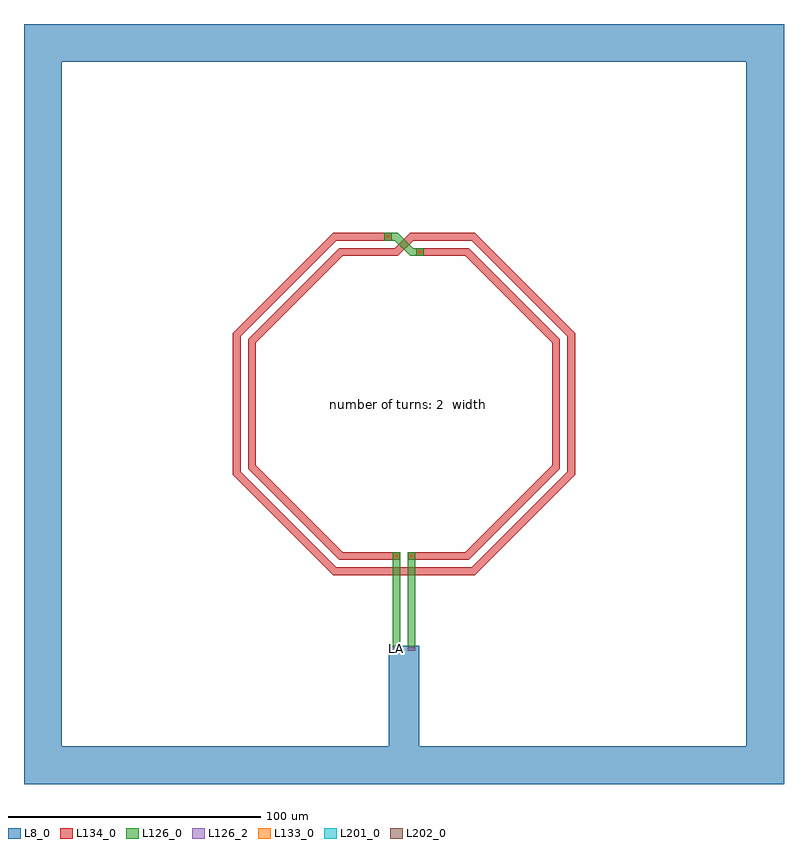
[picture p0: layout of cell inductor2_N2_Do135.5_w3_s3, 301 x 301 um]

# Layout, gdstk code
import gdstk
lib = gdstk.Library(unit=1e-6, precision=1e-09)
def R(c, l, rs):  # rectangles x0, y0, x1, y1
    for r in rs: c.add(gdstk.rectangle(r[:2], r[2:], *l))
def P(c, l, *ps):  # polygons
    for p in ps: c.add(gdstk.Polygon(p, *l))
L8_0 = (8, 0)
L126_0 = (126, 0)
L126_2 = (126, 2)
L133_0 = (133, 0)
L134_0 = (134, 0)
L201_0 = (201, 0)
L202_0 = (202, 0)

inductor2_n2_do135_5_w3_ = lib.new_cell('inductor2_N2_Do135.5_w3_s3')
R(inductor2_n2_do135_5_w3_, L8_0, [(-150.5,-150.5,-135.5,150.5), (-135.5,-150.5,135.5,-135.5), (135.5,-150.5,150.5,150.5), (-6,-135.5,6,-95.75), (-135.5,135.5,135.5,150.5)])
R(inductor2_n2_do135_5_w3_, L126_0, [(-4.5,-97.75,-1.5,-58.75), (1.5,-97.75,4.5,-58.75)])
P(inductor2_n2_do135_5_w3_, L126_0, [(-7.86,67.75),(-7.86,64.75),(-3.621,64.75),(2.379,58.75),(7.86,58.75),(7.86,61.75),(3.621,61.75),(-2.379,67.75)])
R(inductor2_n2_do135_5_w3_, L126_2, [(-4.5,-97.75,-1.5,-96.25), (1.5,-97.75,4.5,-96.25)])
R(inductor2_n2_do135_5_w3_, L133_0, [(-3.45,-60.7,-2.55,-59.8), (2.55,-60.7,3.45,-59.8), (5.92,59.8,6.82,60.7), (-6.82,65.8,-5.92,66.7)])
R(inductor2_n2_do135_5_w3_, L134_0, [(-7.865,-67.75,7.865,-64.75)])
P(inductor2_n2_do135_5_w3_, L134_0, [(-4.86,-67.75),(-4.86,-64.75),(-26.819,-64.75),(-64.75,-26.819),(-64.75,3),(-67.75,3),(-67.75,-28.061),(-28.061,-67.75)],
  [(-4.86,64.75),(-4.86,67.75),(-28.061,67.75),(-67.75,28.061),(-67.75,-3),(-64.75,-3),(-64.75,26.819),(-26.819,64.75)],
  [(4.86,-64.75),(4.86,-67.75),(28.061,-67.75),(67.75,-28.061),(67.75,3),(64.75,3),(64.75,-26.819),(26.819,-64.75)],
  [(4.86,67.75),(4.86,64.75),(26.819,64.75),(64.75,26.819),(64.75,-3),(67.75,-3),(67.75,28.061),(28.061,67.75)],
  [(-1.5,-61.75),(-1.5,-58.75),(-24.339,-58.75),(-58.75,-24.339),(-58.75,3),(-61.75,3),(-61.75,-25.581),(-25.581,-61.75)],
  [(-4.86,58.75),(-4.86,61.75),(-25.581,61.75),(-61.75,25.581),(-61.75,-3),(-58.75,-3),(-58.75,24.339),(-24.339,58.75)],
  [(1.5,-58.75),(1.5,-61.75),(25.581,-61.75),(61.75,-25.581),(61.75,3),(58.75,3),(58.75,-24.339),(24.339,-58.75)],
  [(4.86,61.75),(4.86,58.75),(24.339,58.75),(58.75,24.339),(58.75,-3),(61.75,-3),(61.75,25.581),(25.581,61.75)],
  [(-7.86,61.75),(-7.86,58.75),(-2.379,58.75),(3.621,64.75),(7.86,64.75),(7.86,67.75),(2.379,67.75),(-3.621,61.75)])
R(inductor2_n2_do135_5_w3_, L201_0, [(-4.5,-97.75,-1.5,-97.65)])
R(inductor2_n2_do135_5_w3_, L202_0, [(1.5,-97.75,4.5,-97.65)])
inductor2_n2_do135_5_w3_.add(gdstk.Label('LA', (-3,-97), layer=27, texttype=25))
inductor2_n2_do135_5_w3_.add(gdstk.Label('LB', (3,-97), layer=27, texttype=25))
inductor2_n2_do135_5_w3_.add(gdstk.Label('  number of turns: 2\n  width: 3.00\n  spacing: 3.00\n  outer diameter: 135.50\n  inner diameter: 117.50\n', (0,0), layer=63, texttype=0))

lib.write_gds('inductor2_N2_Do135.5_w3_s3.gds')
